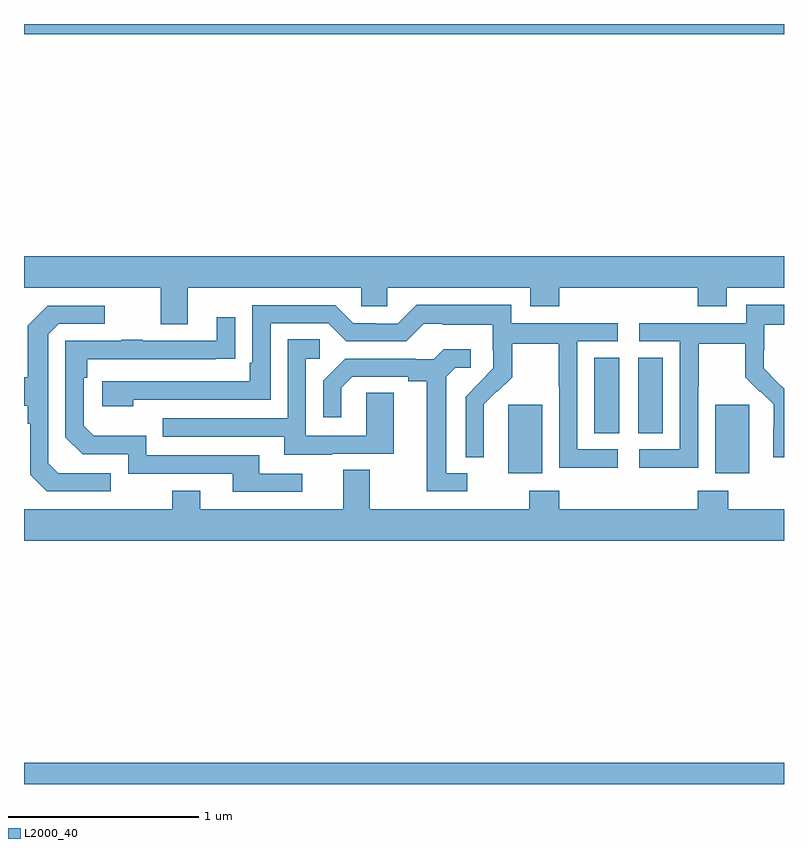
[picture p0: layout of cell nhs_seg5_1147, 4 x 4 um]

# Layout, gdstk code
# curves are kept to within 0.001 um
import gdstk
lib = gdstk.Library(unit=1e-6, precision=1e-09)
def R(c, l, rs):  # rectangles x0, y0, x1, y1
    for r in rs: c.add(gdstk.rectangle(r[:2], r[2:], *l))
def P(c, l, *ps):  # polygons
    for p in ps: c.add(gdstk.Polygon(p, *l))
L2000_40 = (2000, 40)

nhs_seg5_1147 = lib.new_cell('nhs_seg5_1147')
R(nhs_seg5_1147, L2000_40, [(181,868.799,185,868.912), (183.548,870.434,183.727,870.795), (184.637,870.434,184.816,870.795), (184.001,870.646,184.132,871.043), (184.232,870.646,184.363,871.043), (181,872.744,185,872.799)])
P(nhs_seg5_1147, L2000_40, [(181.861,871.412),(182.775,871.412),(182.775,871.314),(182.913,871.314),(182.913,871.412),(183.665,871.412),(183.665,871.313),(183.818,871.313),(183.818,871.412),(184.547,871.412),(184.547,871.313),(184.699,871.313),(184.699,871.412),(185,871.412),(185,871.576),(181,871.576),(181,871.412),(181.721,871.412),(181.721,871.218),(181.861,871.218)],
  [(184.126,870.561),(183.912,870.561),(183.912,871.128),(184.126,871.128),(184.126,871.224),(183.564,871.224),(183.564,871.321),(183.067,871.321),(182.967,871.221),(182.852,871.221),(182.852,871.224),(182.733,871.224),(182.637,871.32),(182.202,871.32),(182.202,871.015),(182.189,871.015),(182.189,870.918),(181.413,870.918),(181.413,870.788),(181.574,870.788),(181.574,870.822),(182.298,870.822),(182.298,871.224),(182.601,871.224),(182.697,871.128),(183.012,871.128),(183.105,871.221),(183.205,871.221),(183.205,871.217),(183.468,871.217),(183.468,871.083),(183.47,871.083),(183.47,870.986),(183.324,870.838),(183.324,870.52),(183.42,870.52),(183.419,870.797),(183.489,870.867),(183.492,870.864),(183.569,870.941),(183.569,871.116),(183.814,871.116),(183.814,870.892),(183.816,870.892),(183.816,870.463),(184.126,870.463)],
  [(184.548,870.892),(184.551,870.892),(184.551,871.116),(184.795,871.116),(184.795,870.941),(184.872,870.864),(184.875,870.867),(184.946,870.797),(184.946,870.674),(184.944,870.674),(184.944,870.52),(185,870.52),(185,870.878),(184.894,870.986),(184.894,871.083),(184.896,871.083),(184.896,871.217),(185,871.217),(185,871.321),(184.8,871.321),(184.8,871.224),(184.239,871.224),(184.239,871.128),(184.452,871.128),(184.452,870.561),(184.239,870.561),(184.239,870.463),(184.548,870.463)],
  [(181.456,870.435),(181.179,870.435),(181.128,870.486),(181.128,871.167),(181.182,871.221),(181.426,871.221),(181.426,871.317),(181.125,871.317),(181.02,871.211),(181.02,870.939),(181,870.939),(181,870.791),(181.02,870.791),(181.02,870.695),(181.032,870.695),(181.032,870.426),(181.119,870.339),(181.456,870.339)],
  [(182.464,870.432),(182.239,870.432),(182.239,870.528),(181.644,870.528),(181.644,870.631),(181.367,870.631),(181.314,870.684),(181.314,870.938),(181.334,870.938),(181.334,871.035),(182.111,871.036),(182.111,871.255),(182.015,871.255),(182.015,871.131),(181.625,871.131),(181.625,871.136),(181.513,871.136),(181.513,871.131),(181.218,871.131),(181.218,870.624),(181.308,870.534),(181.548,870.534),(181.548,870.432),(182.099,870.432),(182.099,870.336),(182.464,870.336)],
  [(182.623,870.537),(182.947,870.537),(182.947,870.857),(182.802,870.857),(182.802,870.633),(182.484,870.633),(182.484,871.038),(182.557,871.038),(182.557,871.139),(182.388,871.139),(182.388,870.723),(181.729,870.723),(181.729,870.627),(182.369,870.627),(182.369,870.533),(182.623,870.533)],
  [(183.334,870.435),(183.223,870.435),(183.223,870.943),(183.27,870.99),(183.352,870.99),(183.352,871.087),(183.208,871.087),(183.156,871.035),(183.062,871.035),(183.062,871.038),(182.69,871.038),(182.574,870.922),(182.574,870.729),(182.671,870.729),(182.671,870.885),(182.728,870.942),(183.023,870.942),(183.023,870.92),(183.119,870.92),(183.119,870.339),(183.334,870.339)],
  [(185,870.244),(184.707,870.244),(184.707,870.343),(184.547,870.343),(184.547,870.244),(183.818,870.244),(183.818,870.343),(183.658,870.343),(183.658,870.244),(182.821,870.244),(182.821,870.452),(182.681,870.452),(182.681,870.244),(181.927,870.244),(181.927,870.343),(181.78,870.343),(181.78,870.244),(181,870.244),(181,870.08),(185,870.08)])

lib.write_gds('nhs_seg5_1147.gds')
